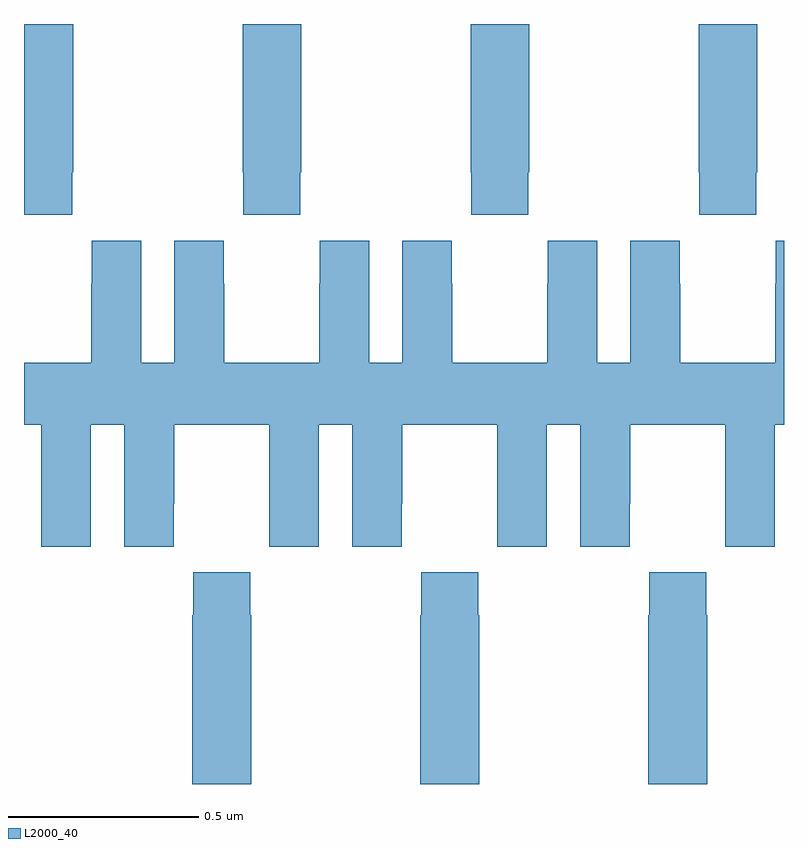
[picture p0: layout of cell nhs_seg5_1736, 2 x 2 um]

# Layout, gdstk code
import gdstk
lib = gdstk.Library(unit=1e-6, precision=1e-09)
def P(c, l, *ps):  # polygons
    for p in ps: c.add(gdstk.Polygon(p, *l))
L2000_40 = (2000, 40)

nhs_seg5_1736 = lib.new_cell('nhs_seg5_1736')
P(nhs_seg5_1736, L2000_40, [(134.727,873.409),(134.73,873.409),(134.73,873.799),(134.575,873.799),(134.575,873.409),(134.577,873.409),(134.577,873.297),(134.727,873.297)],
  [(135.327,873.409),(135.33,873.409),(135.33,873.799),(135.175,873.799),(135.175,873.409),(135.177,873.409),(135.177,873.297),(135.327,873.297)],
  [(135.927,873.409),(135.93,873.409),(135.93,873.799),(135.775,873.799),(135.775,873.409),(135.777,873.409),(135.777,873.297),(135.927,873.297)],
  [(134.127,873.409),(134.13,873.409),(134.13,873.799),(134,873.799),(134,873.297),(134.127,873.297)],
  [(134,872.744),(134.045,872.744),(134.045,872.536),(134.046,872.536),(134.046,872.424),(134.176,872.424),(134.176,872.744),(134.264,872.744),(134.264,872.424),(134.394,872.424),(134.394,872.536),(134.395,872.536),(134.395,872.744),(134.645,872.744),(134.645,872.536),(134.646,872.536),(134.646,872.424),(134.776,872.424),(134.776,872.744),(134.864,872.744),(134.864,872.424),(134.994,872.424),(134.994,872.536),(134.995,872.536),(134.995,872.744),(135.245,872.744),(135.245,872.536),(135.246,872.536),(135.246,872.424),(135.376,872.424),(135.376,872.744),(135.464,872.744),(135.464,872.424),(135.594,872.424),(135.594,872.536),(135.595,872.536),(135.595,872.744),(135.845,872.744),(135.845,872.536),(135.846,872.536),(135.846,872.424),(135.976,872.424),(135.976,872.744),(136,872.744),(136,873.229),(135.978,873.229),(135.978,873.116),(135.977,873.116),(135.977,872.908),(135.727,872.908),(135.727,873.116),(135.726,873.116),(135.726,873.229),(135.596,873.229),(135.596,872.908),(135.508,872.908),(135.508,873.229),(135.378,873.229),(135.378,873.116),(135.377,873.116),(135.377,872.908),(135.127,872.908),(135.127,873.116),(135.126,873.116),(135.126,873.229),(134.996,873.229),(134.996,872.908),(134.908,872.908),(134.908,873.229),(134.778,873.229),(134.778,873.116),(134.777,873.116),(134.777,872.908),(134.527,872.908),(134.527,873.116),(134.526,873.116),(134.526,873.229),(134.396,873.229),(134.396,872.908),(134.308,872.908),(134.308,873.229),(134.178,873.229),(134.178,873.116),(134.177,873.116),(134.177,872.908),(134,872.908)],
  [(134.598,872.243),(134.595,872.243),(134.595,872.356),(134.445,872.356),(134.445,872.243),(134.443,872.243),(134.443,871.799),(134.598,871.799)],
  [(135.798,872.243),(135.795,872.243),(135.795,872.356),(135.645,872.356),(135.645,872.243),(135.643,872.243),(135.643,871.799),(135.798,871.799)],
  [(135.045,872.356),(135.045,872.243),(135.043,872.243),(135.043,871.799),(135.198,871.799),(135.198,872.243),(135.195,872.243),(135.195,872.356)])

lib.write_gds('nhs_seg5_1736.gds')
